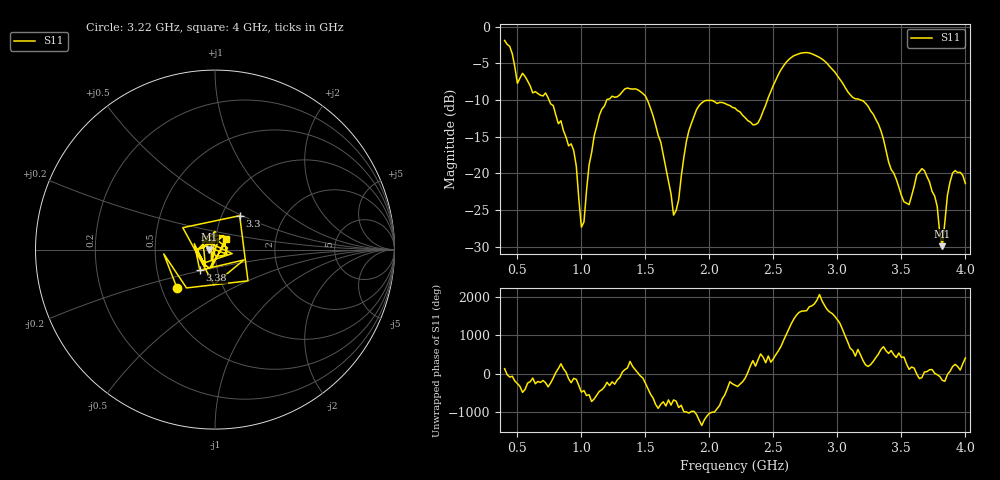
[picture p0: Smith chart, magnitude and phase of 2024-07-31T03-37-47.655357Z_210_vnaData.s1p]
!Created with skrf (http://scikit-rf.org).
# Hz S RI R 50.0
!freq ReS11 ImS11
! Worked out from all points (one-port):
!   181 points, 400 MHz to 4 GHz, reference 50 ohm
!   lowest |S11| = -29.9 dB at 3.82 GHz (marker M1), VSWR 1.07, Z = 46.9 - j0.08 ohm
!   |S11| at or under -10 dB: 747 MHz to 1.198 GHz (451.2 MHz wide, 46.4 % of centre); 1.515 GHz to 2.454 GHz (938.6 MHz wide, 47.3 % of centre); 3.18 GHz to end of sweep
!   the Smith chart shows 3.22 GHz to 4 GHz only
!   S11 on the Smith chart (normalised r, x): 3.22 GHz: 0.60, -0.28; 3.3 GHz: 1.21, +0.48; 3.38 GHz: 0.82, -0.19; 4 GHz: 1.12, +0.14
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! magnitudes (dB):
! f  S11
! 400 MHz  -1.9
! 500 MHz  -7.7
! 720 MHz  -9.0
! 860 MHz  -14.2
! 940 MHz  -16.9
! 1 GHz  -27.3
! 1.14 GHz  -12.1
! 1.3 GHz  -9.3
! 1.5 GHz  -9.5
! 1.62 GHz  -15.7
! 1.72 GHz  -25.7
! 1.76 GHz  -23.6
! 1.82 GHz  -15.7
! 1.9 GHz  -11.3
! 2.2 GHz  -11.1
! 2.38 GHz  -13.1
! 2.66 GHz  -4.0
! 2.88 GHz  -4.4
! 3.1 GHz  -9.3
! 3.22 GHz  -10.4
! 3.3 GHz  -12.6
! 3.38 GHz  -16.9
! 3.56 GHz  -24.2
! 3.68 GHz  -19.6
! 3.78 GHz  -24.5
! 3.82 GHz  -29.9
! 3.9 GHz  -19.9
! 4 GHz  -21.4
